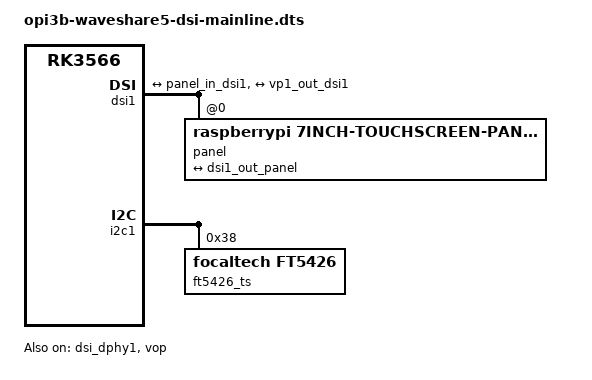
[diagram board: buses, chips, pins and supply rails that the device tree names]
// SPDX-License-Identifier: GPL-2.0+
/*
 * Armbian overlay: Raspberry Pi 7" touchscreen (Waveshare 5" DSI clone)
 * for Orange Pi 3B — mainline kernel (6.11+)
 *
 * Based on:
 *   - OrangePi BSP overlay: rk356x-raspi-7inch-touchscreen.dts
 *   - Anbernic RG503 mainline DTS (working rk3566 DSI0 reference)
 *   - PineTab2 mainline DTS (working rk3566 DSI0 reference)
 *
 * BSP→Mainline mapping:
 *   video_phy1        → dsi_dphy1      (@ fe860000)
 *   dsi1_in_vp0       → vp1 with ROCKCHIP_VOP2_EP_MIPI1
 *   raspits_panel     → panel node inside &dsi1
 *   raspits_ft5426    → focaltech,ft5426 in &i2c1
 *   compatible "raspits_ft5426" → "focaltech,ft5426"
 *
 * Hardware:
 *   - DSI connector: DSI1 (fe070000) — 4-lane MIPI
 *   - Panel i2c addr: 0x45 (raspberrypi panel bridge)
 *   - Touch i2c:  ft5426 @ 0x38 on i2c1
 *   - VOP routing: vp1 → DSI1 → panel
 *
 * Usage (Armbian armbian-add-overlay):
 *   sudo armbian-add-overlay opi3b-waveshare5-dsi-mainline.dts
 *
 * Or manually:
 *   dtc -I dts -O dtb -o /boot/overlay-user/opi3b-waveshare5-dsi-mainline.dtbo \
 *       opi3b-waveshare5-dsi-mainline.dts
 *   # Add to /boot/armbianEnv.txt:
 *   #   user_overlays=opi3b-waveshare5-dsi-mainline
 */

/dts-v1/;
/plugin/;

#include <dt-bindings/gpio/gpio.h>
#include <dt-bindings/pinctrl/rockchip.h>

/ {
	compatible = "rockchip,rk3566-orangepi-3b", "rockchip,rk3566";

	/* Enable DSI1 MIPI PHY */
	fragment@0 {
		target = <&dsi_dphy1>;
		__overlay__ {
			status = "okay";
		};
	};

	/* Enable DSI1 controller + panel node */
	fragment@1 {
		target = <&dsi1>;
		__overlay__ {
			status = "okay";
			#address-cells = <1>;
			#size-cells = <0>;

			panel@0 {
				compatible = "raspberrypi,7inch-touchscreen-panel";
				reg = <0>;

				port {
					panel_in_dsi1: endpoint {
						remote-endpoint = <&dsi1_out_panel>;
					};
				};
			};
		};
	};

	/* Wire DSI1 output port → panel */
	fragment@2 {
		target = <&dsi1>;
		__overlay__ {
			ports {
				port@1 {
					reg = <1>;
					dsi1_out_panel: endpoint {
						remote-endpoint = <&panel_in_dsi1>;
					};
				};
			};
		};
	};

	/* Route VOP video port 1 → DSI1 */
	fragment@3 {
		target = <&vp1>;
		__overlay__ {
			vp1_out_dsi1: endpoint@ROCKCHIP_VOP2_EP_MIPI1 {
				reg = <ROCKCHIP_VOP2_EP_MIPI1>;
				remote-endpoint = <&dsi1_in_vp1>;
			};
		};
	};

	/* Wire DSI1 input port ← vp1 */
	fragment@4 {
		target = <&dsi1>;
		__overlay__ {
			ports {
				port@0 {
					reg = <0>;
					dsi1_in_vp1: endpoint {
						remote-endpoint = <&vp1_out_dsi1>;
					};
				};
			};
		};
	};

	/* Enable VOP so it starts up */
	fragment@5 {
		target = <&vop>;
		__overlay__ {
			status = "okay";
		};
	};

	/* ft5426 capacitive touch on i2c1 (0x38) */
	fragment@6 {
		target = <&i2c1>;
		__overlay__ {
			status = "okay";
			#address-cells = <1>;
			#size-cells = <0>;

			ft5426_ts: touchscreen@38 {
				compatible = "focaltech,ft5426", "focaltech,ft5x06";
				reg = <0x38>;
				interrupt-parent = <&gpio4>;
				/*
				 * INT pin: check OPi 3B schematic for DSI connector
				 * Waveshare 5" typically: GPIO4_B1 or similar
				 * Set to 0 if unknown — driver will poll instead
				 */
				/* interrupts = <RK_PB1 IRQ_TYPE_EDGE_FALLING>; */
				touchscreen-size-x = <800>;
				touchscreen-size-y = <480>;
				status = "okay";
			};
		};
	};

	/* Disable HDMI to avoid VOP conflict (vp0 goes to HDMI, vp1 to DSI) */
	/* Comment this out if you want HDMI + DSI simultaneously */
	fragment@7 {
		target = <&hdmi>;
		__overlay__ {
			status = "disabled";
		};
	};
};
